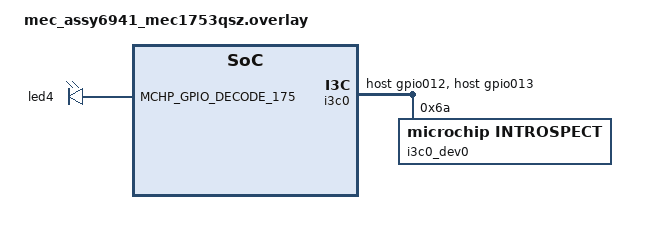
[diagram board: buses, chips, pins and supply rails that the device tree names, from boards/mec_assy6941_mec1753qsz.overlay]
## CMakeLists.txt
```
# SPDX-License-Identifier: Apache-2.0

cmake_minimum_required(VERSION 3.20.0)
find_package(Zephyr REQUIRED HINTS $ENV{ZEPHYR_BASE})
project(introspect)

FILE(GLOB app_sources src/*.c)
target_sources(app PRIVATE ${app_sources})
```

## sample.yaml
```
sample:
  name: Test file to interact with Intrispect
tests:
  sample.drivers.introspect:
    harness: console
    tags: drivers
    depends_on: i3c
    filter: dt_compat_enabled("microchip,introspect")
    build_only: true
```

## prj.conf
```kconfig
CONFIG_STDOUT_CONSOLE=y
CONFIG_CBPRINTF_FP_SUPPORT=y

CONFIG_I3C=y
#Enable below for I3C0/I3C1 Host mode
CONFIG_INTROSPECT=y
CONFIG_LOG=y
```

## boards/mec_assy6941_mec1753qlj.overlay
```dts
/*
 * Copyright (c) 2024 Microchip Technology Inc.
 *
 * SPDX-License-Identifier: Apache-2.0
 */

#include <zephyr/dt-bindings/gpio/gpio.h>
#include <zephyr/dt-bindings/gpio/microchip-mec5-gpio.h>
#include <microchip/mec5/mec1753qlj-a0-pinctrl.dtsi>
/ {
        chosen {
                zephyr,console = &uart1;
        };

        aliases {
                led0 = &led4;
        };

        leds {
                compatible = "gpio-leds";
                led4: led_0 {
                        gpios = <MCHP_GPIO_DECODE_175 GPIO_ACTIVE_HIGH>;
                };
        };
};

&i3c0 {
/*	status = "okay";*/

	pinctrl-0 = <&i3c01_sda_host_gpio012 &i3c01_scl_host_gpio013>;
	pinctrl-names = "default";

	i3c0_dev0: dev0@6A0000A0123456789A {
		compatible = "microchip,introspect";

		reg = < 0x6A 0xA012 0x3456789A >;
		assigned-address = <0x5C>;

		status = "disabled";
	};

	/*i3c0_dev1: dev1@6B0000B0123456789B {
		compatible = "st,lps22hh";

		reg = < 0x6B 0xB012 0x3456789B >;
		assigned-address = 0x5D;

		status = "okay";
	};

	i3c0_dev2: dev2@000000C0123456789C {
		compatible = "st,lps22hh";

		reg = < 0x00 0xC012 0x3456789C >;
		assigned-address = 0x5A;

		status = "okay";
	};


	lps22hh: lps22hh@690000046A00000000 {
		compatible = "st,lps22hh";
		reg = <0x69 0x046A 0x00000000>;
		assigned-address = 0x5B;

		status = "okay";
	};
	i2c-dev0: i2c-dev0@380000000000000050 {
		compatible = "vendor-i2c-dev";

		reg = < 0x38 0x0 0x50 >;

		status = "okay";
	};*/
};

&i3c1 {
        status = "okay";

        pinctrl-0 = <&i3c01_sda_target_gpio012 &i3c01_scl_target_gpio013>;
        pinctrl-names = "default";
        i3c1-as-tgt-pid = < 0xB012 0x3456789B >;
        /* false if absent */
        /*i3c1-as-tgt-pid-random;*/
        i3c1-as-tgt-static-addr= < 0x6B >;
        i3c1-as-tgt-mrl = < 8 >;
        i3c1-as-tgt-mwl = < 8 >;
};
```

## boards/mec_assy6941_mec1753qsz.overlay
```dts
/*
 * Copyright (c) 2024 Microchip Technology Inc.
 *
 * SPDX-License-Identifier: Apache-2.0
 */

#include <zephyr/dt-bindings/gpio/gpio.h>
#include <microchip/mec5/mec1753qsz-a0-pinctrl.dtsi>
/ {
        chosen {
                zephyr,console = &uart1;
        };

        aliases {
                led0 = &led4;
        };

        leds {
                compatible = "gpio-leds";
                led4: led_0 {
                        gpios = <MCHP_GPIO_DECODE_175 GPIO_ACTIVE_HIGH>;
                };
        };
};

&i3c0 {
	status = "okay";

	pinctrl-0 = <&i3c01_sda_host_gpio012 &i3c01_scl_host_gpio013>;
	pinctrl-names = "default";

	i3c0_dev0: dev0@6A0000A0123456789A {
		compatible = "microchip,introspect";

		reg = < 0x6A 0xA012 0x3456789A >;
                /* Dynamic Address To Be Assigned To The Device */
		assigned-address = <0x5C>;

		status = "okay";
	};

	i3c0_dev1: dev1@6B0000B0123456789B {
		compatible = "microchip,introspect";

		reg = < 0x6B 0xB012 0x3456789B >;
		/*assigned-address = <0x6B>;*/

		status = "disabled";
	};

	/*i3c0_dev2: dev2@000000C0123456789C {
		compatible = "st,lps22hh";

		reg = < 0x00 0xC012 0x3456789C >;
		assigned-address = 0x5A;

		status = "okay";
	};


	lps22hh: lps22hh@690000046A00000000 {
		compatible = "st,lps22hh";
		reg = <0x69 0x046A 0x00000000>;
		assigned-address = 0x5B;

		status = "okay";
	};
	i2c-dev0: i2c-dev0@380000000000000050 {
		compatible = "vendor-i2c-dev";

		reg = < 0x38 0x0 0x50 >;

		status = "okay";
	};*/
};

&i3c1 {
        status = "disabled";

        pinctrl-0 = <&i3c00_sda_target_gpio132 &i3c00_scl_target_gpio140>;
        pinctrl-names = "default";
        i3c1-as-tgt-pid = < 0xB012 0x3456789B >;
        /* false if absent */
        /*i3c1-as-tgt-pid-random;*/
        i3c1-as-tgt-static-addr= < 0x6B >;
        i3c1-as-tgt-mrl = < 8 >;
        i3c1-as-tgt-mwl = < 8 >;
};
```

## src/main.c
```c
/*
 * Copyright (c) 2017 Linaro Limited
 * Copyright (c) 2019 Nordic Semiconductor ASA
 *
 * SPDX-License-Identifier: Apache-2.0
 */

#include <zephyr/kernel.h>
#include <zephyr/device.h>
#include <zephyr/drivers/introspect_i3c.h>
#include <stdio.h>
#include <zephyr/sys/util.h>

#if DT_NODE_EXISTS(DT_NODELABEL(i3c1))
 #if DT_NODE_HAS_STATUS(DT_NODELABEL(i3c1), okay)
  #if DT_PROP(DT_NODELABEL(i3c1), enable_i3c1_as_host)
    #warning "i3c1 boot as Tgt, rqt to Host"
  #else
    #warning "i3c1 boot as Target"
    #define I3C1_AS_TARGET
  #endif
 #endif
#endif

#if DT_NODE_EXISTS(DT_NODELABEL(i3c0))
 #if DT_NODE_HAS_STATUS(DT_NODELABEL(i3c0), okay)
    #warning "i3c0 Selected"
    #define I3C0
 #endif
#endif

#ifdef I3C1_AS_TARGET
#include "zephyr/drivers/i3c.h"
static int tgt0_write_requested_cb(struct i3c_target_config *config);
static int tgt0_write_received_cb(struct i3c_target_config *config, uint8_t val);
static int tgt0_read_requested_cb(struct i3c_target_config *config, uint8_t *val);
static int tgt0_read_processed_cb(struct i3c_target_config *config, uint8_t *val);
static int tgt0_stop_cb(struct i3c_target_config *config);

struct i3c_target_callbacks tgt0_cbs= {
    .write_requested_cb   = tgt0_write_requested_cb,
    .write_received_cb    = tgt0_write_received_cb,
    .read_requested_cb    = tgt0_read_requested_cb,
    .read_processed_cb    = tgt0_read_processed_cb,
    .stop_cb              = tgt0_stop_cb,
};

struct i3c_target_config tgt0_cfg;
//uint8_t tgt_tx_buff[10] = {0x4b, 0x7f, 0x73, 0x66, 0x7d, 0x13, 0x69, 0x25, 0xb4, 0xbf};
uint8_t tgt_tx_buff[88] = {
                           0x1,  0x2,  0x3,  0x4,  0x5,  0x6,  0x7,  0x8,
                           0x9,  0xa,  0xb,  0xc,  0xd,  0xe,  0xf,  0x10,
                           0x11, 0x12, 0x13, 0x14, 0x15, 0x16, 0x17, 0x18,
                           0x19, 0x1a, 0x1b, 0x1c, 0x1d, 0x1e, 0x1f, 0x20,
                           0x21, 0x22, 0x23, 0x24, 0x25, 0x26, 0x27, 0x28,
                           0x29, 0x2a, 0x2b, 0x2c, 0x2d, 0x2e, 0x2f, 0x30,
                           0x31, 0x32, 0x33, 0x34, 0x35, 0x36, 0x37, 0x38,
                           0x39, 0x3a, 0x3b, 0x3c, 0x3d, 0x3e, 0x3f, 0x40,
                           0xa1, 0xa2, 0xa3, 0xa4, 0xa5, 0xa6, 0xa7, 0xa8,
                           0xb1, 0xb2, 0xb3, 0xb4, 0xb5, 0xb6, 0xb7, 0xb8,
                           0xc1, 0xc2, 0xc3, 0xc4, 0xc5, 0xc6, 0xc7, 0xc8};

static int tgt0_write_requested_cb(struct i3c_target_config *config)
{
    printf("[%s]\n", __FUNCTION__);
    return 0;
}

static int tgt0_write_received_cb(struct i3c_target_config *config, uint8_t val)
{
    printf("[%s] Data => 0x%02x\n", __FUNCTION__, val);
    return 0;
}

static int tgt0_read_requested_cb(struct i3c_target_config *config, uint8_t *val)
{
    printf("[%s]\n", __FUNCTION__);
    return 0;
}

static int tgt0_read_processed_cb(struct i3c_target_config *config, uint8_t *val)
{
    printf("[%s]\n", __FUNCTION__);
    return 0;
}

static int tgt0_stop_cb(struct i3c_target_config *config)
{
    printf("[%s]\n", __FUNCTION__);
    return 0;
}

//I3C1 as Target
//struct k_timer timer0;
//void tgt_test_sir_ibi_cb(struct k_timer *timer)
void tgt_test_sir_ibi(const struct device *dev)
{
	uint8_t sir_ibi_payload[3] = {0x2E, 0x01, 0x02};
	struct i3c_ibi sir_ibi;

//	struct device *dev = (struct device *)k_timer_user_data_get(timer);

	//SIR IBI with MDB only
	sir_ibi.ibi_type = I3C_IBI_TARGET_INTR;
	sir_ibi.payload = &sir_ibi_payload[0];
	sir_ibi.payload_len = 1;
	if (0 != i3c_ibi_raise(dev, &sir_ibi))
	{
		printf("SIR IBI with MDB only failed!!\n");
	}

        //SIR IBI with MDB + 1 byte
        sir_ibi.ibi_type = I3C_IBI_TARGET_INTR;
        sir_ibi.payload = &sir_ibi_payload[0];
        sir_ibi.payload_len = 2; 
	if (0 != i3c_ibi_raise(dev, &sir_ibi))
	{
		printf("SIR IBI with MDB + 1 byte of payload failed!!\n");
	}

        //SIR IBI with MDB + 2 byte
        sir_ibi.ibi_type = I3C_IBI_TARGET_INTR;
        sir_ibi.payload = &sir_ibi_payload[0];
        sir_ibi.payload_len = 3;
	if (0 != i3c_ibi_raise(dev, &sir_ibi))
	{
		printf("SIR IBI with MDB + 2 bytes of payload failed!!\n");
	}
}

void tgt_test_mr_ibi(const struct device *dev)
{
	struct i3c_ibi mr_ibi = {
	    .ibi_type = I3C_IBI_CONTROLLER_ROLE_REQUEST,
	    .payload = NULL,
	};

	if (0 != i3c_ibi_raise(dev, &mr_ibi))
	{
		printf("MR IBI failed!!\n");
	}
}

void tgt_test_hj_ibi(const struct device *dev)
{
        struct i3c_ibi mr_ibi = {
            .ibi_type = I3C_IBI_HOTJOIN,
            .payload = NULL,
        };

        if (0 != i3c_ibi_raise(dev, &mr_ibi))
        {
                printf("HJ IBI failed!!\n");
        }
}
#endif

#if defined(I3C0) || defined(I3C1)
static void transfer_data(const struct device *dev)
{
    uint8_t txData[10] = {0,1,2,3,4,5,6,7,8,9};

    printf("Tx:\n ");
    for(uint8_t i=0; i < 10; i++)
        printf("%x ", txData[i]);
    printf("\n");

    if (i3c_set_data(dev, &txData[0], 10) < 0) {
	printf("Cannot write\n");
	return;
    }
}

static void receive_data(const struct device *dev)
{
    uint8_t rxData[10];
    if (i3c_get_data(dev, &rxData[0], 10) < 0) {
	printf("Cannot read\n");
	return;
    }
    printf("Rx:\n ");
    for(uint8_t i=0; i < 10; i++)
        printf("%x ", rxData[i]);
    printf("\n");
}

static void transceive_data(const struct device *dev)
{
    uint8_t txData[10] = {10,11,12,13,14,15,16,17,18,19};
    uint8_t rxData[10];

    printf("TxRx\n ");
    printf("tx ");
    for(uint8_t i=0; i < 10; i++)
        printf("%x ", txData[i]);
    printf("\n");

    if (i3c_set_get_data(dev, &txData[0], 10, &rxData[0], 10) < 0) {
        printf("Cannot write read\n");
        return;
    }

    printf(" rx ");
    for(uint8_t i=0; i < 10; i++)
        printf("%x ", rxData[i]);
    printf("\n");
}

void print_buf(uint8_t *buf, uint32_t len)
{
    uint32_t j, k;
    printk("0x00000000: ");
    for (j=0;j<len;j++)
    {
        printk("%02x ", buf[j]);
        k = j+1;
        if ((k<len) && !(k % 16)) printk("\r\n0x%08x: ", k);
    }
    printk("\r\n");
}
static int target_ibi_cb(struct i3c_device_desc *target, struct i3c_ibi_payload *payload)
{
    if(payload == NULL)
    {
	return 1;
    }
    printk("Enter [%s] - RxD %d bytes of payload\n", __FUNCTION__, payload->payload_len);
    if(payload->payload_len) {
        print_buf(&payload->payload[0], payload->payload_len);
    }
    return 0;
}
#endif

int main(void)
{
#ifdef I3C1_AS_TARGET
	const struct device *const dev = DEVICE_DT_GET(DT_NODELABEL(i3c1));
	//struct device *dev = DEVICE_DT_GET(DT_NODELABEL(i3c1));

        if (!device_is_ready(dev)) {
                printk("I3C1_AS_TARGET not ready.\n");
                return 0;
        }
//For private transfer
//tgt0_cfg.callbacks = &tgt0_cbs;
//int ret = i3c_target_register(dev, &tgt0_cfg);
//ret = i3c_target_tx_write(dev, &tgt_tx_buff[0], 64);

k_sleep(K_MSEC(10000));
//tgt_test_sir_ibi(dev);
//tgt_test_mr_ibi(dev);
tgt_test_hj_ibi(dev);
#endif

#ifdef I3C0
        const struct device *const dev_i3c_h = DEVICE_DT_GET(DT_NODELABEL(i3c0_dev0));

        if (!device_is_ready(dev_i3c_h)) {
                printk("sensor: device not ready.\n");
                return 0;
        }

    transfer_data(dev_i3c_h);
   // receive_data(dev_i3c_h);
   // transceive_data(dev_i3c_h);
//i3c_ibi(dev_i3c_h, &target_ibi_cb);
#endif

	k_sleep(K_FOREVER);
	return 0;
}
```
